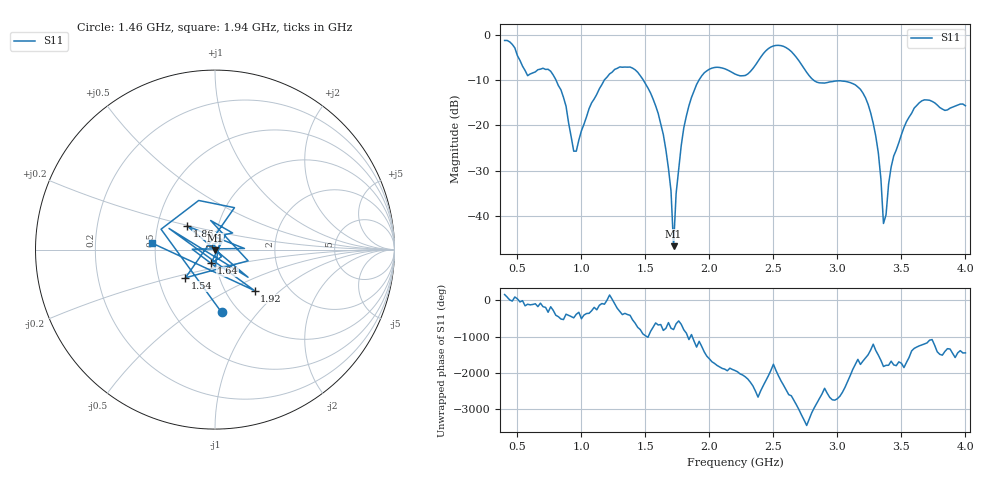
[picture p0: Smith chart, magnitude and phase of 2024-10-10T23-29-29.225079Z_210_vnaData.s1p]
! Created with skrf (http://scikit-rf.org).
# Hz S RI R 50.0
!freq ReS11 ImS11
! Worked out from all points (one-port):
!   181 points, 400 MHz to 4 GHz, reference 50 ohm
!   lowest |S11| = -46.6 dB at 1.72 GHz (marker M1), VSWR 1.01, Z = 50.1 - j0.463 ohm
!   |S11| at or under -10 dB: 801 MHz to 1.179 GHz (378.4 MHz wide, 38.2 % of centre); 1.483 GHz to 1.919 GHz (436.4 MHz wide, 25.7 % of centre); 2.812 GHz to end of sweep
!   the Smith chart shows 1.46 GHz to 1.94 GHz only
!   S11 on the Smith chart (normalised r, x): 1.46 GHz: 0.83, -0.67; 1.54 GHz: 0.69, -0.23; 1.64 GHz: 0.95, -0.14; 1.86 GHz: 0.71, +0.19; 1.92 GHz: 1.36, -0.69; 1.94 GHz: 0.48, +0.04
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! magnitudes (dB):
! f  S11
! 400 MHz  -1.3
! 760 MHz  -8.1
! 860 MHz  -13.8
! 960 MHz  -25.7
! 1.08 GHz  -15.0
! 1.3 GHz  -7.1
! 1.46 GHz  -9.1
! 1.54 GHz  -12.9
! 1.64 GHz  -22.0
! 1.7 GHz  -34.5
! 1.72 GHz  -46.6
! 1.74 GHz  -35.0
! 1.76 GHz  -29.8
! 1.86 GHz  -13.9
! 1.92 GHz  -10.0
! 1.94 GHz  -9.1
! 2.2 GHz  -8.7
! 2.5 GHz  -2.5
! 2.66 GHz  -4.4
! 2.84 GHz  -10.5
! 3.1 GHz  -10.6
! 3.28 GHz  -19.6
! 3.32 GHz  -26.1
! 3.36 GHz  -41.6
! 3.44 GHz  -26.8
! 3.56 GHz  -18.2
! 3.68 GHz  -14.4
! 4 GHz  -15.7
